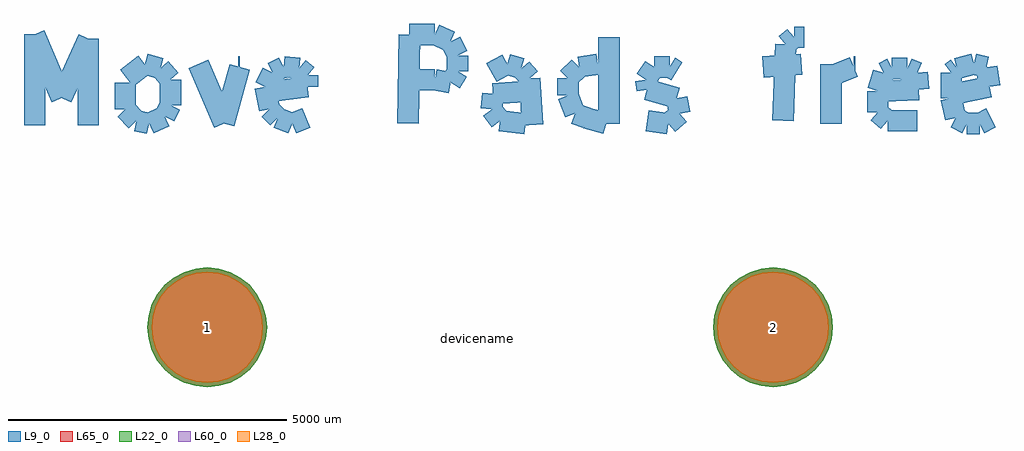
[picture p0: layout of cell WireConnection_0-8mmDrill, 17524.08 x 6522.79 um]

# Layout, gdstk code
import gdstk
lib = gdstk.Library(unit=1e-6, precision=1e-09)
def P(c, l, *ps):  # polygons
    for p in ps: c.add(gdstk.Polygon(p, *l))
L9_0 = (9, 0)
L22_0 = (22, 0)
L28_0 = (28, 0)
L60_0 = (60, 0)
L65_0 = (65, 0)

wireconnection_0_8mmdril = lib.new_cell('WireConnection_0-8mmDrill')
P(wireconnection_0_8mmdril, L22_0, [(11234.49,0),(11213.844,209.623),(11152.699,411.19),(11053.406,596.955),(10919.779,759.779),(10756.955,893.406),(10571.19,992.699),(10369.623,1053.844),(10160,1074.49),(9950.377,1053.844),(9748.81,992.699),(9563.045,893.406),(9400.221,759.779),(9266.594,596.955),(9167.301,411.19),(9106.156,209.623),(9085.51,0),(9106.156,-209.623),(9167.301,-411.19),(9266.594,-596.955),(9400.221,-759.779),(9563.045,-893.406),(9748.81,-992.699),(9950.377,-1053.844),(10160,-1074.49),(10369.623,-1053.844),(10571.19,-992.699),(10756.955,-893.406),(10919.779,-759.779),(11053.406,-596.955),(11152.699,-411.19),(11213.844,-209.623)],
  [(1074.49,0),(1053.844,209.623),(992.699,411.19),(893.406,596.955),(759.779,759.779),(596.955,893.406),(411.19,992.699),(209.623,1053.844),(0,1074.49),(-209.623,1053.844),(-411.19,992.699),(-596.955,893.406),(-759.779,759.779),(-893.406,596.955),(-992.699,411.19),(-1053.844,209.623),(-1074.49,0),(-1053.844,-209.623),(-992.699,-411.19),(-893.406,-596.955),(-759.779,-759.779),(-596.955,-893.406),(-411.19,-992.699),(-209.623,-1053.844),(0,-1074.49),(209.623,-1053.844),(411.19,-992.699),(596.955,-893.406),(759.779,-759.779),(893.406,-596.955),(992.699,-411.19),(1053.844,-209.623)])
P(wireconnection_0_8mmdril, L28_0, [(11159.49,0),(11140.285,194.991),(11083.408,382.488),(10991.046,555.287),(10866.746,706.746),(10715.287,831.046),(10542.488,923.408),(10354.991,980.285),(10160,999.49),(9965.009,980.285),(9777.512,923.408),(9604.713,831.046),(9453.254,706.746),(9328.954,555.287),(9236.592,382.488),(9179.715,194.991),(9160.51,0),(9179.715,-194.991),(9236.592,-382.488),(9328.954,-555.287),(9453.254,-706.746),(9604.713,-831.046),(9777.512,-923.408),(9965.009,-980.285),(10160,-999.49),(10354.991,-980.285),(10542.488,-923.408),(10715.287,-831.046),(10866.746,-706.746),(10991.046,-555.287),(11083.408,-382.488),(11140.285,-194.991)],
  [(999.49,0),(980.285,194.991),(923.408,382.488),(831.046,555.287),(706.746,706.746),(555.287,831.046),(382.488,923.408),(194.991,980.285),(0,999.49),(-194.991,980.285),(-382.488,923.408),(-555.287,831.046),(-706.746,706.746),(-831.046,555.287),(-923.408,382.488),(-980.285,194.991),(-999.49,0),(-980.285,-194.991),(-923.408,-382.488),(-831.046,-555.287),(-706.746,-706.746),(-555.287,-831.046),(-382.488,-923.408),(-194.991,-980.285),(0,-999.49),(194.991,-980.285),(382.488,-923.408),(555.287,-831.046),(706.746,-706.746),(831.046,-555.287),(923.408,-382.488),(980.285,-194.991)])
P(wireconnection_0_8mmdril, L60_0, [(11159.49,0),(11140.285,194.991),(11083.408,382.488),(10991.046,555.287),(10866.746,706.746),(10715.287,831.046),(10542.488,923.408),(10354.991,980.285),(10160,999.49),(9965.009,980.285),(9777.512,923.408),(9604.713,831.046),(9453.254,706.746),(9328.954,555.287),(9236.592,382.488),(9179.715,194.991),(9160.51,0),(9179.715,-194.991),(9236.592,-382.488),(9328.954,-555.287),(9453.254,-706.746),(9604.713,-831.046),(9777.512,-923.408),(9965.009,-980.285),(10160,-999.49),(10354.991,-980.285),(10542.488,-923.408),(10715.287,-831.046),(10866.746,-706.746),(10991.046,-555.287),(11083.408,-382.488),(11140.285,-194.991)],
  [(999.49,0),(980.285,194.991),(923.408,382.488),(831.046,555.287),(706.746,706.746),(555.287,831.046),(382.488,923.408),(194.991,980.285),(0,999.49),(-194.991,980.285),(-382.488,923.408),(-555.287,831.046),(-706.746,706.746),(-831.046,555.287),(-923.408,382.488),(-980.285,194.991),(-999.49,0),(-980.285,-194.991),(-923.408,-382.488),(-831.046,-555.287),(-706.746,-706.746),(-555.287,-831.046),(-382.488,-923.408),(-194.991,-980.285),(0,-999.49),(194.991,-980.285),(382.488,-923.408),(555.287,-831.046),(706.746,-706.746),(831.046,-555.287),(923.408,-382.488),(980.285,-194.991)])
P(wireconnection_0_8mmdril, L65_0, [(11234.49,0),(11213.844,209.623),(11152.699,411.19),(11053.406,596.955),(10919.779,759.779),(10756.955,893.406),(10571.19,992.699),(10369.623,1053.844),(10160,1074.49),(9950.377,1053.844),(9748.81,992.699),(9563.045,893.406),(9400.221,759.779),(9266.594,596.955),(9167.301,411.19),(9106.156,209.623),(9085.51,0),(9106.156,-209.623),(9167.301,-411.19),(9266.594,-596.955),(9400.221,-759.779),(9563.045,-893.406),(9748.81,-992.699),(9950.377,-1053.844),(10160,-1074.49),(10369.623,-1053.844),(10571.19,-992.699),(10756.955,-893.406),(10919.779,-759.779),(11053.406,-596.955),(11152.699,-411.19),(11213.844,-209.623)],
  [(1074.49,0),(1053.844,209.623),(992.699,411.19),(893.406,596.955),(759.779,759.779),(596.955,893.406),(411.19,992.699),(209.623,1053.844),(0,1074.49),(-209.623,1053.844),(-411.19,992.699),(-596.955,893.406),(-759.779,759.779),(-893.406,596.955),(-992.699,411.19),(-1053.844,209.623),(-1074.49,0),(-1053.844,-209.623),(-992.699,-411.19),(-893.406,-596.955),(-759.779,-759.779),(-596.955,-893.406),(-411.19,-992.699),(-209.623,-1053.844),(0,-1074.49),(209.623,-1053.844),(411.19,-992.699),(596.955,-893.406),(759.779,-759.779),(893.406,-596.955),(992.699,-411.19),(1053.844,-209.623)])
wireconnection_0_8mmdril.add(gdstk.FlexPath([(-2133.6,5181.6),(-2133.6,3632.2)], 380.998, ends="flush", simple_path=True, layer=9, datatype=0))  # L9_0
wireconnection_0_8mmdril.add(gdstk.FlexPath([(-2616.2,4114.8),(-2133.6,5181.6)], 380.998, ends="flush", simple_path=True, layer=9, datatype=0))  # L9_0
wireconnection_0_8mmdril.add(gdstk.FlexPath([(-3098.8,5257.8),(-2616.2,4114.8)], 380.998, ends="flush", simple_path=True, layer=9, datatype=0))  # L9_0
wireconnection_0_8mmdril.add(gdstk.FlexPath([(-3098.8,3632.2),(-3098.8,5257.8)], 380.998, ends="flush", simple_path=True, layer=9, datatype=0))  # L9_0
wireconnection_0_8mmdril.add(gdstk.FlexPath([(-1117.6,4724.4),(-1447.8,4470.4)], 380.998, ends="flush", simple_path=True, layer=9, datatype=0))  # L9_0
wireconnection_0_8mmdril.add(gdstk.FlexPath([(-838.2,4648.2),(-1117.6,4724.4)], 380.998, ends="flush", simple_path=True, layer=9, datatype=0))  # L9_0
wireconnection_0_8mmdril.add(gdstk.FlexPath([(-660.4,4445),(-838.2,4648.2)], 380.998, ends="flush", simple_path=True, layer=9, datatype=0))  # L9_0
wireconnection_0_8mmdril.add(gdstk.FlexPath([(-660.4,3987.8),(-660.4,4445)], 380.998, ends="flush", simple_path=True, layer=9, datatype=0))  # L9_0
wireconnection_0_8mmdril.add(gdstk.FlexPath([(-762,3784.6),(-660.4,3987.8)], 380.998, ends="flush", simple_path=True, layer=9, datatype=0))  # L9_0
wireconnection_0_8mmdril.add(gdstk.FlexPath([(-1041.4,3657.6),(-762,3784.6)], 380.998, ends="flush", simple_path=True, layer=9, datatype=0))  # L9_0
wireconnection_0_8mmdril.add(gdstk.FlexPath([(-1270,3708.4),(-1041.4,3657.6)], 380.998, ends="flush", simple_path=True, layer=9, datatype=0))  # L9_0
wireconnection_0_8mmdril.add(gdstk.FlexPath([(-1473.2,3911.6),(-1270,3708.4)], 380.998, ends="flush", simple_path=True, layer=9, datatype=0))  # L9_0
wireconnection_0_8mmdril.add(gdstk.FlexPath([(-1473.2,4394.2),(-1473.2,3911.6)], 380.998, ends="flush", simple_path=True, layer=9, datatype=0))  # L9_0
wireconnection_0_8mmdril.add(gdstk.FlexPath([(584.2,4673.6),(558.8,4673.6)], 380.998, ends="flush", simple_path=True, layer=9, datatype=0))  # L9_0
wireconnection_0_8mmdril.add(gdstk.FlexPath([(304.8,3657.6),(584.2,4673.6)], 380.998, ends="flush", simple_path=True, layer=9, datatype=0))  # L9_0
wireconnection_0_8mmdril.add(gdstk.FlexPath([(-152.4,4724.4),(304.8,3657.6)], 380.998, ends="flush", simple_path=True, layer=9, datatype=0))  # L9_0
wireconnection_0_8mmdril.add(gdstk.FlexPath([(1803.4,4318),(1168.4,4241.8)], 380.998, ends="flush", simple_path=True, layer=9, datatype=0))  # L9_0
wireconnection_0_8mmdril.add(gdstk.FlexPath([(1803.4,4521.2),(1803.4,4318)], 380.998, ends="flush", simple_path=True, layer=9, datatype=0))  # L9_0
wireconnection_0_8mmdril.add(gdstk.FlexPath([(1651,4648.2),(1803.4,4521.2)], 380.998, ends="flush", simple_path=True, layer=9, datatype=0))  # L9_0
wireconnection_0_8mmdril.add(gdstk.FlexPath([(1371.6,4673.6),(1651,4648.2)], 380.998, ends="flush", simple_path=True, layer=9, datatype=0))  # L9_0
wireconnection_0_8mmdril.add(gdstk.FlexPath([(1168.4,4572),(1371.6,4673.6)], 380.998, ends="flush", simple_path=True, layer=9, datatype=0))  # L9_0
wireconnection_0_8mmdril.add(gdstk.FlexPath([(1041.4,4318),(1168.4,4572)], 380.998, ends="flush", simple_path=True, layer=9, datatype=0))  # L9_0
wireconnection_0_8mmdril.add(gdstk.FlexPath([(1117.6,3911.6),(1041.4,4318)], 380.998, ends="flush", simple_path=True, layer=9, datatype=0))  # L9_0
wireconnection_0_8mmdril.add(gdstk.FlexPath([(1270,3759.2),(1117.6,3911.6)], 380.998, ends="flush", simple_path=True, layer=9, datatype=0))  # L9_0
wireconnection_0_8mmdril.add(gdstk.FlexPath([(1524,3657.6),(1270,3759.2)], 380.998, ends="flush", simple_path=True, layer=9, datatype=0))  # L9_0
wireconnection_0_8mmdril.add(gdstk.FlexPath([(1778,3759.2),(1524,3657.6)], 380.998, ends="flush", simple_path=True, layer=9, datatype=0))  # L9_0
wireconnection_0_8mmdril.add(gdstk.FlexPath([(4089.4,4445),(3632.2,4445)], 380.998, ends="flush", simple_path=True, layer=9, datatype=0))  # L9_0
wireconnection_0_8mmdril.add(gdstk.FlexPath([(4368.8,4394.2),(4089.4,4445)], 380.998, ends="flush", simple_path=True, layer=9, datatype=0))  # L9_0
wireconnection_0_8mmdril.add(gdstk.FlexPath([(4495.8,4597.4),(4368.8,4394.2)], 380.998, ends="flush", simple_path=True, layer=9, datatype=0))  # L9_0
wireconnection_0_8mmdril.add(gdstk.FlexPath([(4495.8,4876.8),(4495.8,4597.4)], 380.998, ends="flush", simple_path=True, layer=9, datatype=0))  # L9_0
wireconnection_0_8mmdril.add(gdstk.FlexPath([(4368.8,5130.8),(4495.8,4876.8)], 380.998, ends="flush", simple_path=True, layer=9, datatype=0))  # L9_0
wireconnection_0_8mmdril.add(gdstk.FlexPath([(4089.4,5257.8),(4368.8,5130.8)], 380.998, ends="flush", simple_path=True, layer=9, datatype=0))  # L9_0
wireconnection_0_8mmdril.add(gdstk.FlexPath([(3632.2,5257.8),(4089.4,5257.8)], 380.998, ends="flush", simple_path=True, layer=9, datatype=0))  # L9_0
wireconnection_0_8mmdril.add(gdstk.FlexPath([(3606.8,3657.6),(3632.2,5257.8)], 380.998, ends="flush", simple_path=True, layer=9, datatype=0))  # L9_0
wireconnection_0_8mmdril.add(gdstk.FlexPath([(5791.2,4470.4),(5842,3632.2)], 380.998, ends="flush", simple_path=True, layer=9, datatype=0))  # L9_0
wireconnection_0_8mmdril.add(gdstk.FlexPath([(5638.8,4648.2),(5791.2,4470.4)], 380.998, ends="flush", simple_path=True, layer=9, datatype=0))  # L9_0
wireconnection_0_8mmdril.add(gdstk.FlexPath([(5384.8,4724.4),(5638.8,4648.2)], 380.998, ends="flush", simple_path=True, layer=9, datatype=0))  # L9_0
wireconnection_0_8mmdril.add(gdstk.FlexPath([(5105.4,4572),(5384.8,4724.4)], 380.998, ends="flush", simple_path=True, layer=9, datatype=0))  # L9_0
wireconnection_0_8mmdril.add(gdstk.FlexPath([(5130.8,4191),(5842,4241.8)], 380.998, ends="flush", simple_path=True, layer=9, datatype=0))  # L9_0
wireconnection_0_8mmdril.add(gdstk.FlexPath([(5105.4,3911.6),(5130.8,4191)], 380.998, ends="flush", simple_path=True, layer=9, datatype=0))  # L9_0
wireconnection_0_8mmdril.add(gdstk.FlexPath([(5257.8,3708.4),(5105.4,3911.6)], 380.998, ends="flush", simple_path=True, layer=9, datatype=0))  # L9_0
wireconnection_0_8mmdril.add(gdstk.FlexPath([(5715,3657.6),(5257.8,3708.4)], 380.998, ends="flush", simple_path=True, layer=9, datatype=0))  # L9_0
wireconnection_0_8mmdril.add(gdstk.FlexPath([(7213.6,5207),(7213.6,3657.6)], 380.998, ends="flush", simple_path=True, layer=9, datatype=0))  # L9_0
wireconnection_0_8mmdril.add(gdstk.FlexPath([(6680.2,4673.6),(7010.4,4724.4)], 380.998, ends="flush", simple_path=True, layer=9, datatype=0))  # L9_0
wireconnection_0_8mmdril.add(gdstk.FlexPath([(6477,4470.4),(6680.2,4673.6)], 380.998, ends="flush", simple_path=True, layer=9, datatype=0))  # L9_0
wireconnection_0_8mmdril.add(gdstk.FlexPath([(6477,4165.6),(6477,4470.4)], 380.998, ends="flush", simple_path=True, layer=9, datatype=0))  # L9_0
wireconnection_0_8mmdril.add(gdstk.FlexPath([(6604,3835.4),(6477,4165.6)], 380.998, ends="flush", simple_path=True, layer=9, datatype=0))  # L9_0
wireconnection_0_8mmdril.add(gdstk.FlexPath([(6807.2,3759.2),(6604,3835.4)], 380.998, ends="flush", simple_path=True, layer=9, datatype=0))  # L9_0
wireconnection_0_8mmdril.add(gdstk.FlexPath([(7162.8,3657.6),(6807.2,3759.2)], 380.998, ends="flush", simple_path=True, layer=9, datatype=0))  # L9_0
wireconnection_0_8mmdril.add(gdstk.FlexPath([(8280.4,3657.6),(7899.4,3708.4)], 380.998, ends="flush", simple_path=True, layer=9, datatype=0))  # L9_0
wireconnection_0_8mmdril.add(gdstk.FlexPath([(8483.6,3835.4),(8280.4,3657.6)], 380.998, ends="flush", simple_path=True, layer=9, datatype=0))  # L9_0
wireconnection_0_8mmdril.add(gdstk.FlexPath([(8432.8,4114.8),(8483.6,3835.4)], 380.998, ends="flush", simple_path=True, layer=9, datatype=0))  # L9_0
wireconnection_0_8mmdril.add(gdstk.FlexPath([(8178.8,4191),(8432.8,4114.8)], 380.998, ends="flush", simple_path=True, layer=9, datatype=0))  # L9_0
wireconnection_0_8mmdril.add(gdstk.FlexPath([(7899.4,4267.2),(8178.8,4191)], 380.998, ends="flush", simple_path=True, layer=9, datatype=0))  # L9_0
wireconnection_0_8mmdril.add(gdstk.FlexPath([(7874,4445),(7899.4,4267.2)], 380.998, ends="flush", simple_path=True, layer=9, datatype=0))  # L9_0
wireconnection_0_8mmdril.add(gdstk.FlexPath([(8026.4,4673.6),(7874,4445)], 380.998, ends="flush", simple_path=True, layer=9, datatype=0))  # L9_0
wireconnection_0_8mmdril.add(gdstk.FlexPath([(8305.8,4673.6),(8026.4,4673.6)], 380.998, ends="flush", simple_path=True, layer=9, datatype=0))  # L9_0
wireconnection_0_8mmdril.add(gdstk.FlexPath([(8432.8,4597.4),(8305.8,4673.6)], 380.998, ends="flush", simple_path=True, layer=9, datatype=0))  # L9_0
wireconnection_0_8mmdril.add(gdstk.FlexPath([(10388.6,5080),(10337.8,3708.4)], 380.998, ends="flush", simple_path=True, layer=9, datatype=0))  # L9_0
wireconnection_0_8mmdril.add(gdstk.FlexPath([(10541,5207),(10388.6,5080)], 380.998, ends="flush", simple_path=True, layer=9, datatype=0))  # L9_0
wireconnection_0_8mmdril.add(gdstk.FlexPath([(10718.8,5207),(10541,5207)], 380.998, ends="flush", simple_path=True, layer=9, datatype=0))  # L9_0
wireconnection_0_8mmdril.add(gdstk.FlexPath([(9982.2,4673.6),(10668,4724.4)], 380.998, ends="flush", simple_path=True, layer=9, datatype=0))  # L9_0
wireconnection_0_8mmdril.add(gdstk.FlexPath([(11201.4,4724.4),(11201.4,3657.6)], 380.998, ends="flush", simple_path=True, layer=9, datatype=0))  # L9_0
wireconnection_0_8mmdril.add(gdstk.FlexPath([(11607.8,4673.6),(11633.2,4673.6)], 380.998, ends="flush", simple_path=True, layer=9, datatype=0))  # L9_0
wireconnection_0_8mmdril.add(gdstk.FlexPath([(11226.8,4521.2),(11607.8,4673.6)], 380.998, ends="flush", simple_path=True, layer=9, datatype=0))  # L9_0
wireconnection_0_8mmdril.add(gdstk.FlexPath([(12776.2,4267.2),(12141.2,4241.8)], 380.998, ends="flush", simple_path=True, layer=9, datatype=0))  # L9_0
wireconnection_0_8mmdril.add(gdstk.FlexPath([(12750.8,4572),(12776.2,4267.2)], 380.998, ends="flush", simple_path=True, layer=9, datatype=0))  # L9_0
wireconnection_0_8mmdril.add(gdstk.FlexPath([(12573,4648.2),(12750.8,4572)], 380.998, ends="flush", simple_path=True, layer=9, datatype=0))  # L9_0
wireconnection_0_8mmdril.add(gdstk.FlexPath([(12293.6,4648.2),(12573,4648.2)], 380.998, ends="flush", simple_path=True, layer=9, datatype=0))  # L9_0
wireconnection_0_8mmdril.add(gdstk.FlexPath([(12141.2,4572),(12293.6,4648.2)], 380.998, ends="flush", simple_path=True, layer=9, datatype=0))  # L9_0
wireconnection_0_8mmdril.add(gdstk.FlexPath([(12039.6,4241.8),(12141.2,4572)], 380.998, ends="flush", simple_path=True, layer=9, datatype=0))  # L9_0
wireconnection_0_8mmdril.add(gdstk.FlexPath([(12039.6,3860.8),(12039.6,4241.8)], 380.998, ends="flush", simple_path=True, layer=9, datatype=0))  # L9_0
wireconnection_0_8mmdril.add(gdstk.FlexPath([(12217.4,3708.4),(12039.6,3860.8)], 380.998, ends="flush", simple_path=True, layer=9, datatype=0))  # L9_0
wireconnection_0_8mmdril.add(gdstk.FlexPath([(12420.6,3708.4),(12217.4,3708.4)], 380.998, ends="flush", simple_path=True, layer=9, datatype=0))  # L9_0
wireconnection_0_8mmdril.add(gdstk.FlexPath([(12750.8,3708.4),(12420.6,3708.4)], 380.998, ends="flush", simple_path=True, layer=9, datatype=0))  # L9_0
wireconnection_0_8mmdril.add(gdstk.FlexPath([(13436.6,4191),(13436.6,4241.8)], 380.998, ends="flush", simple_path=True, layer=9, datatype=0))  # L9_0
wireconnection_0_8mmdril.add(gdstk.FlexPath([(14046.2,4318),(13436.6,4191)], 380.998, ends="flush", simple_path=True, layer=9, datatype=0))  # L9_0
wireconnection_0_8mmdril.add(gdstk.FlexPath([(13995.4,4673.6),(14046.2,4318)], 380.998, ends="flush", simple_path=True, layer=9, datatype=0))  # L9_0
wireconnection_0_8mmdril.add(gdstk.FlexPath([(13766.8,4724.4),(13995.4,4673.6)], 380.998, ends="flush", simple_path=True, layer=9, datatype=0))  # L9_0
wireconnection_0_8mmdril.add(gdstk.FlexPath([(13462,4648.2),(13766.8,4724.4)], 380.998, ends="flush", simple_path=True, layer=9, datatype=0))  # L9_0
wireconnection_0_8mmdril.add(gdstk.FlexPath([(13360.4,4572),(13462,4648.2)], 380.998, ends="flush", simple_path=True, layer=9, datatype=0))  # L9_0
wireconnection_0_8mmdril.add(gdstk.FlexPath([(13360.4,4114.8),(13360.4,4572)], 380.998, ends="flush", simple_path=True, layer=9, datatype=0))  # L9_0
wireconnection_0_8mmdril.add(gdstk.FlexPath([(13436.6,3759.2),(13360.4,4114.8)], 380.998, ends="flush", simple_path=True, layer=9, datatype=0))  # L9_0
wireconnection_0_8mmdril.add(gdstk.FlexPath([(13639.8,3657.6),(13436.6,3759.2)], 380.998, ends="flush", simple_path=True, layer=9, datatype=0))  # L9_0
wireconnection_0_8mmdril.add(gdstk.FlexPath([(13868.4,3657.6),(13639.8,3657.6)], 380.998, ends="flush", simple_path=True, layer=9, datatype=0))  # L9_0
wireconnection_0_8mmdril.add(gdstk.FlexPath([(14071.6,3759.2),(13868.4,3657.6)], 380.998, ends="flush", simple_path=True, layer=9, datatype=0))  # L9_0
wireconnection_0_8mmdril.add(gdstk.Label('2', (10160,0), layer=28, texttype=0))
wireconnection_0_8mmdril.add(gdstk.Label('1', (0,0), layer=28, texttype=0))
wireconnection_0_8mmdril.add(gdstk.Label('type', (5080,-3810), layer=9, texttype=0))
wireconnection_0_8mmdril.add(gdstk.Label('devicename', (4851.4,-203.2), layer=9, texttype=0))

lib.write_gds('WireConnection_0-8mmDrill.gds')
